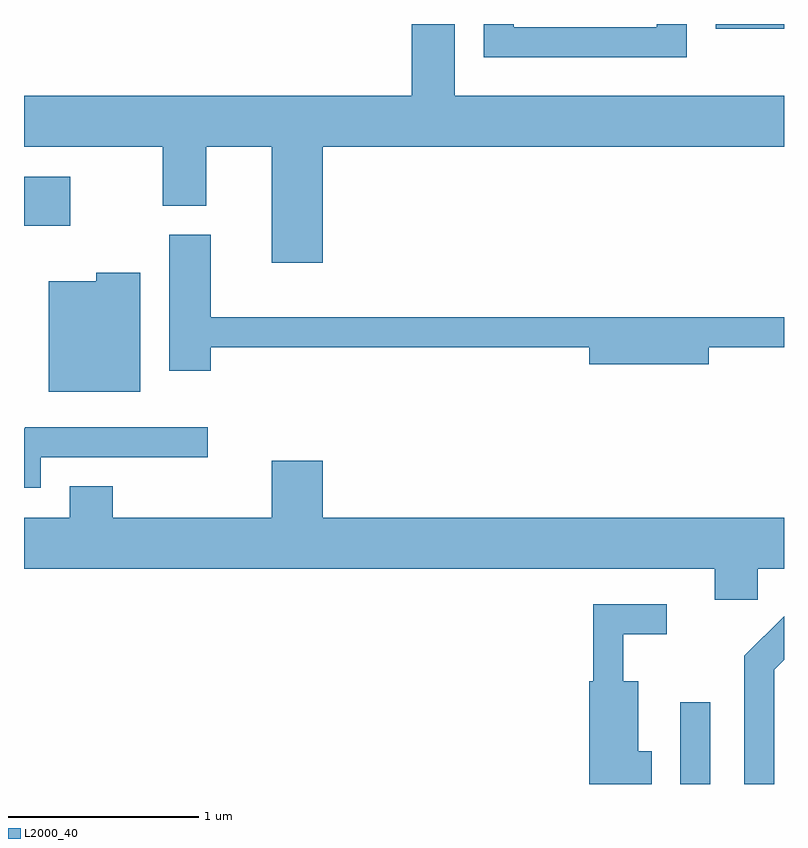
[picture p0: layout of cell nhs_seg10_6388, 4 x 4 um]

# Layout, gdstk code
import gdstk
lib = gdstk.Library(unit=1e-6, precision=1e-09)
def R(c, l, rs):  # rectangles x0, y0, x1, y1
    for r in rs: c.add(gdstk.rectangle(r[:2], r[2:], *l))
def P(c, l, *ps):  # polygons
    for p in ps: c.add(gdstk.Polygon(p, *l))
L2000_40 = (2000, 40)

nhs_seg10_6388 = lib.new_cell('nhs_seg10_6388')
R(nhs_seg10_6388, L2000_40, [(377.066,2150.522,377.224,2150.953), (373.611,2153.461,373.854,2153.719), (377.251,2154.496,377.611,2154.522)])
P(nhs_seg10_6388, L2000_40, [(375.184,2153.876),(377.611,2153.876),(377.611,2154.144),(375.879,2154.144),(375.879,2154.522),(375.651,2154.522),(375.651,2154.144),(373.611,2154.144),(373.611,2153.876),(374.341,2153.876),(374.341,2153.566),(374.569,2153.566),(374.569,2153.876),(374.916,2153.876),(374.916,2153.266),(375.184,2153.266)],
  [(377.099,2154.522),(376.941,2154.522),(376.941,2154.504),(376.189,2154.504),(376.189,2154.522),(376.031,2154.522),(376.031,2154.346),(377.099,2154.346)],
  [(374.594,2152.821),(376.586,2152.821),(376.586,2152.731),(377.214,2152.731),(377.214,2152.821),(377.611,2152.821),(377.611,2152.979),(374.594,2152.979),(374.594,2153.414),(374.376,2153.414),(374.376,2152.696),(374.594,2152.696)],
  [(374.224,2153.214),(373.991,2153.214),(373.991,2153.169),(373.741,2153.169),(373.741,2152.586),(374.224,2152.586)],
  [(373.699,2152.241),(374.578,2152.241),(374.578,2152.399),(373.617,2152.399),(373.611,2152.393),(373.611,2152.081),(373.699,2152.081)],
  [(377.474,2151.656),(377.611,2151.656),(377.611,2151.924),(375.184,2151.924),(375.184,2152.224),(374.916,2152.224),(374.916,2151.924),(374.079,2151.924),(374.079,2152.089),(373.851,2152.089),(373.851,2151.924),(373.611,2151.924),(373.611,2151.656),(377.246,2151.656),(377.246,2151.491),(377.474,2151.491)],
  [(376.914,2150.694),(376.844,2150.694),(376.844,2151.064),(376.764,2151.064),(376.764,2151.311),(376.993,2151.311),(376.993,2151.469),(376.606,2151.469),(376.606,2151.064),(376.586,2151.064),(376.586,2150.522),(376.914,2150.522)],
  [(377.559,2151.124),(377.611,2151.176),(377.611,2151.406),(377.401,2151.197),(377.401,2150.522),(377.559,2150.522)])

lib.write_gds('nhs_seg10_6388.gds')
